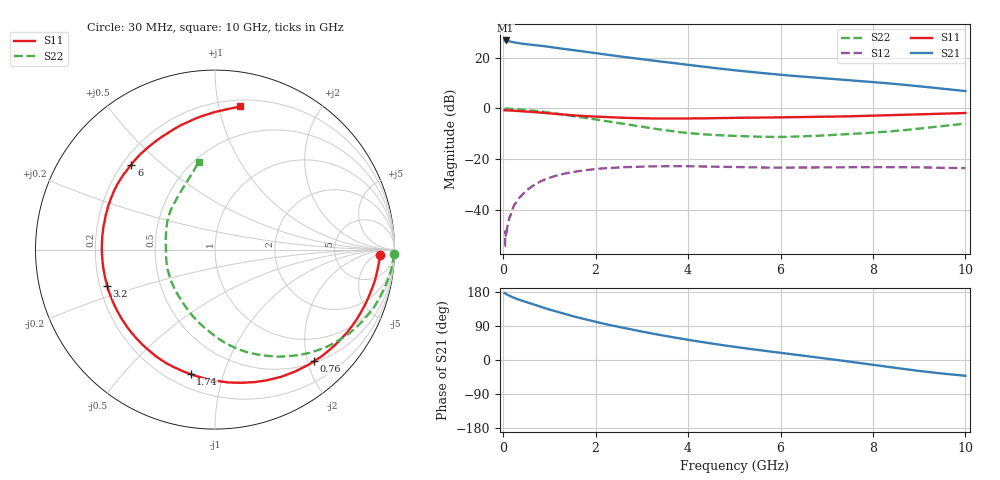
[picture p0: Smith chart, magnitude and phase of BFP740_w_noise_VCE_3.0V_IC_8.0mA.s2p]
! Infineon Technologies  Discrete & RF Semiconductors
! BFP740
! VCE =  3.0 V,  IC =  8.0 mA
! Common Emitter S-Parameters:  Jan 2016
# GHz  S  MA  R  50
!  f  S11  S21  S12  S22
! GHz  MAG  ANG  MAG  ANG  MAG  ANG  MAG  ANG
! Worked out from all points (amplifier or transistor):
!   229 points, 30 MHz to 10 GHz, reference 50 ohm
!   highest |S21| = 26.8 dB at 50 MHz (marker M1)
!   |S21| within 3 dB of that: start of sweep to 1.176 GHz
!   unconditionally stable (mu >= 1): 7.402 GHz to end of sweep
!   at 280 MHz: K = 0.13, MSG = 31.6 dB, |S12| = -37.2 dB
!   at 1.78 GHz: K = 0.29, MSG = 23.4 dB, |S12| = -24.4 dB
!   at 10 GHz: K = 1.10, MAG = 13.3 dB, |S12| = -23.6 dB
!   lowest NFmin = 0.48 dB at 450 MHz
!   S11 on the Smith chart (normalised r, x): 30 MHz: 20, -8; 760 MHz: 0.53, -2.12; 1.74 GHz: 0.28, -0.78; 3.2 GHz: 0.23, -0.15; 6 GHz: 0.24, +0.40; 10 GHz: 0.25, +1.16
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0.03  0.9189 -2.0  21.89 176.8  0.0019 70.8  0.9971 -1.4
0.05  0.9184 -3.5  21.98 175.4  0.0038 60.1  0.9966 -2.5
0.12  0.9101 -8.4  21.36 170.2  0.0061 86.0  0.9895 -5.7
0.26  0.8951 -17.5  19.98 162.9  0.0131 79.6  0.9712 -11.8
0.6  0.8543 -38.6  18.14 148.6  0.028 67.4  0.9146 -25.7
0.76  0.8317 -48.3  17.44 142.3  0.0343 61.4  0.8818 -31.8
0.9  0.8128 -56.7  16.9 136.8  0.0394 57.1  0.8496 -37.2
1.1  0.7841 -68.1  15.96 129.4  0.0457 50.8  0.8018 -44.3
1.4  0.7446 -84.0  14.61 119.1  0.053 42.6  0.7316 -54.1
1.7  0.711 -99.2  13.44 109.6  0.0588 35.6  0.6643 -63.1
1.74  0.7069 -101.1  13.29 108.4  0.0595 34.7  0.6564 -64.2
2.1  0.6814 -118.0  11.99 97.9  0.0648 27.3  0.5843 -74.7
2.36  0.6638 -129.0  11.14 90.9  0.0669 22.6  0.5366 -81.7
2.82  0.6436 -147.4  9.82 79.3  0.0699 15.2  0.4588 -93.8
3.2  0.6334 -161.5  8.894 70.4  0.0714 10.1  0.4054 -104.8
3.4  0.631 -168.4  8.441 65.9  0.0719 7.6  0.3817 -110.6
4.3  0.6353 164.9  6.715 47.3  0.0713 -2.1  0.3095 -138.5
5.1  0.6521 148.1  5.545 33.2  0.0692 -7.8  0.2843 -159.8
6  0.6646 134.5  4.615 19.0  0.0677 -11.4  0.2734 179.0
6.8  0.6809 123.5  4.027 6.7  0.0682 -14.7  0.2875 161.5
8.4  0.7371 98.8  3.086 -19.3  0.0689 -22.4  0.3526 127.9
10  0.8099 79.9  2.198 -41.7  0.0662 -28.3  0.499 100.5
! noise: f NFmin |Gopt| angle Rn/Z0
0.45  0.48  0.29  9  0.17
0.9  0.49  0.29  15  0.17
1.5  0.51  0.28  23  0.16
1.9  0.54  0.27  41  0.16
2.4  0.56  0.27  46  0.15
3.5  0.67  0.24  62  0.14
5.5  0.86  0.19  -178  0.13
10  1.39  0.52  -77  0.17
